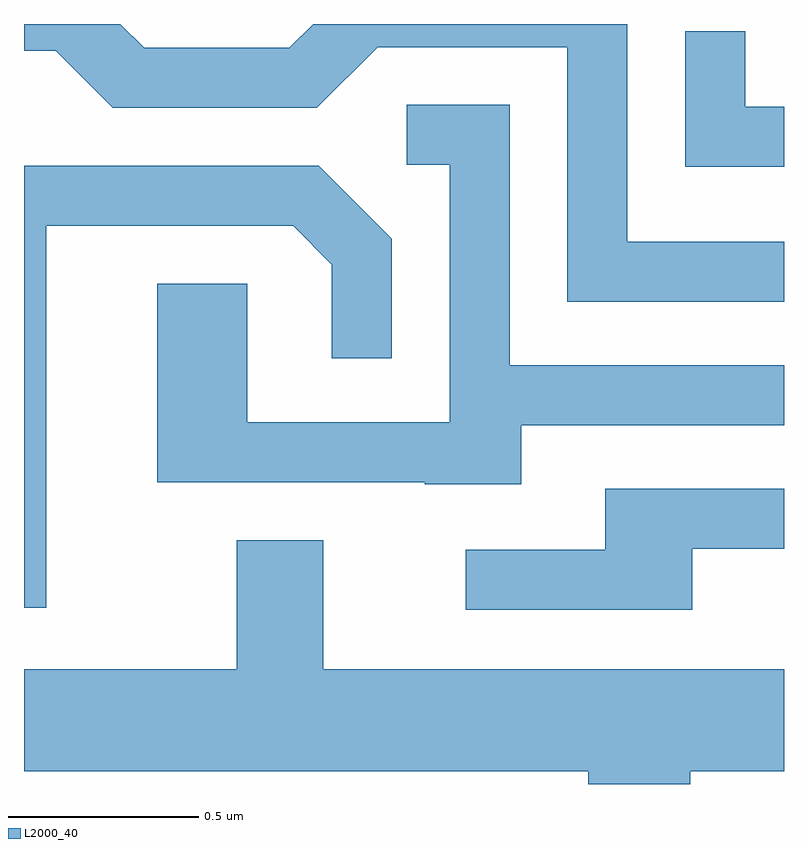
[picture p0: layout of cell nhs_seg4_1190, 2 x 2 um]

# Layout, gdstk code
import gdstk
lib = gdstk.Library(unit=1e-6, precision=1e-09)
def P(c, l, *ps):  # polygons
    for p in ps: c.add(gdstk.Polygon(p, *l))
L2000_40 = (2000, 40)

nhs_seg4_1190 = lib.new_cell('nhs_seg4_1190')
P(nhs_seg4_1190, L2000_40, [(195.611,1349.409),(195.199,1349.409),(195.199,1349.982),(194.372,1349.982),(194.309,1349.919),(193.927,1349.919),(193.864,1349.982),(193.611,1349.982),(193.611,1349.911),(193.694,1349.911),(193.844,1349.761),(194.382,1349.761),(194.542,1349.921),(195.041,1349.921),(195.041,1349.251),(195.611,1349.251)],
  [(195.611,1349.764),(195.509,1349.764),(195.509,1349.963),(195.351,1349.963),(195.351,1349.606),(195.611,1349.606)],
  [(194.919,1348.926),(195.611,1348.926),(195.611,1349.084),(194.889,1349.084),(194.889,1349.769),(194.618,1349.769),(194.618,1349.611),(194.731,1349.611),(194.731,1348.934),(194.199,1348.934),(194.199,1349.299),(193.961,1349.299),(193.961,1348.776),(194.665,1348.776),(194.665,1348.771),(194.919,1348.771)],
  [(193.669,1349.451),(194.319,1349.451),(194.421,1349.349),(194.421,1349.103),(194.579,1349.103),(194.579,1349.417),(194.387,1349.609),(193.611,1349.609),(193.611,1348.446),(193.669,1348.446)],
  [(195.369,1348.601),(195.611,1348.601),(195.611,1348.759),(195.141,1348.759),(195.141,1348.599),(194.773,1348.599),(194.773,1348.441),(195.369,1348.441)],
  [(195.364,1348.016),(195.611,1348.016),(195.611,1348.284),(194.399,1348.284),(194.399,1348.624),(194.171,1348.624),(194.171,1348.284),(193.611,1348.284),(193.611,1348.016),(195.096,1348.016),(195.096,1347.982),(195.364,1347.982)])

lib.write_gds('nhs_seg4_1190.gds')
